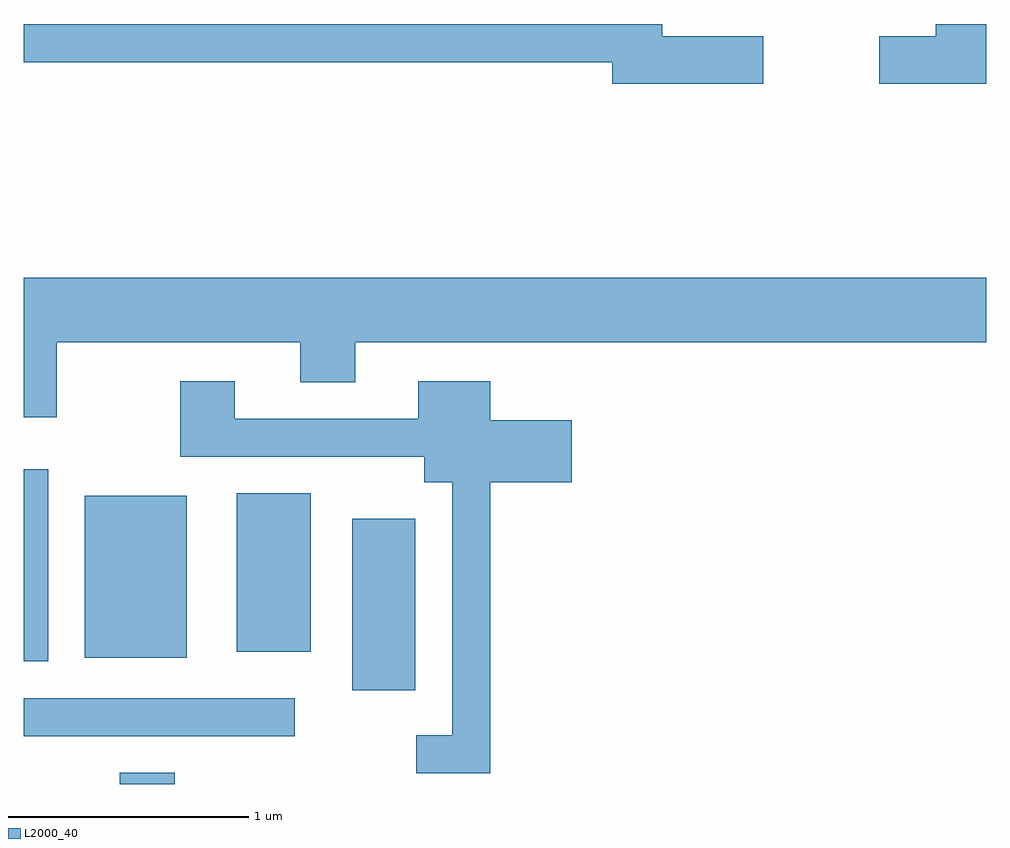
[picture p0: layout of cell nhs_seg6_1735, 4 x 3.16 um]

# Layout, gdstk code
import gdstk
lib = gdstk.Library(unit=1e-6, precision=1e-09)
def R(c, l, rs):  # rectangles x0, y0, x1, y1
    for r in rs: c.add(gdstk.rectangle(r[:2], r[2:], *l))
def P(c, l, *ps):  # polygons
    for p in ps: c.add(gdstk.Polygon(p, *l))
L2000_40 = (2000, 40)

nhs_seg6_1735 = lib.new_cell('nhs_seg6_1735')
R(nhs_seg6_1735, L2000_40, [(238.011,1588.162,238.239,1588.209), (237.611,1588.361,238.738,1588.519), (238.976,1588.551,239.239,1589.264), (237.611,1588.671,237.714,1589.469), (237.866,1588.686,238.289,1589.359), (238.496,1588.711,238.804,1589.369)])
P(nhs_seg6_1735, L2000_40, [(240.684,1591.269),(240.264,1591.269),(240.264,1591.319),(237.611,1591.319),(237.611,1591.161),(240.056,1591.161),(240.056,1591.071),(240.684,1591.071)],
  [(241.611,1591.319),(241.401,1591.319),(241.401,1591.269),(241.166,1591.269),(241.166,1591.071),(241.611,1591.071)],
  [(237.749,1589.996),(238.761,1589.996),(238.761,1589.831),(238.989,1589.831),(238.989,1589.996),(241.611,1589.996),(241.611,1590.264),(237.611,1590.264),(237.611,1589.686),(237.749,1589.686)],
  [(239.549,1589.416),(239.889,1589.416),(239.889,1589.674),(239.549,1589.674),(239.549,1589.834),(239.251,1589.834),(239.251,1589.679),(238.489,1589.679),(238.489,1589.834),(238.261,1589.834),(238.261,1589.521),(239.276,1589.521),(239.276,1589.416),(239.391,1589.416),(239.391,1588.364),(239.243,1588.364),(239.243,1588.206),(239.549,1588.206)])

lib.write_gds('nhs_seg6_1735.gds')
